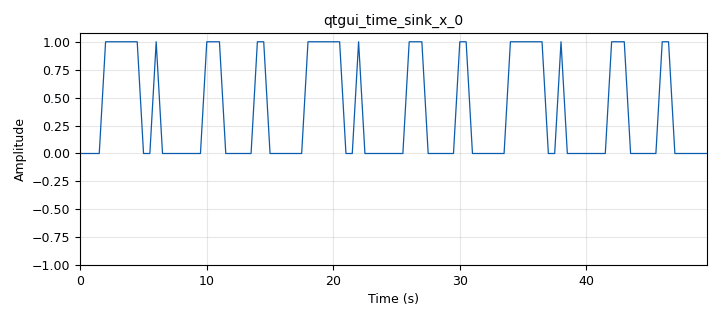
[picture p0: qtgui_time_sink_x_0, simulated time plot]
<?xml version='1.0' encoding='utf-8'?>
<?grc format='1' created='3.7.9'?>
<flow_graph>
<block>
<key>options</key>
<param><key>id</key><value>debug_env</value></param>
<param><key>category</key><value>Custom</value></param>
<param><key>generate_options</key><value>qt_gui</value></param>
</block>
<block>
<key>variable</key>
<param><key>id</key><value>constel_header</value></param>
<param><key>value</key><value>digital.constellation_bpsk()</value></param>
</block>
<block>
<key>variable</key>
<param><key>id</key><value>constel_payload</value></param>
<param><key>value</key><value>digital.constellation_bpsk()</value></param>
</block>
<block>
<key>variable</key>
<param><key>id</key><value>samp_rate</value></param>
<param><key>value</key><value>2</value></param>
</block>
<block>
<key>blocks_char_to_float</key>
<param><key>id</key><value>blocks_char_to_float_0</value></param>
<param><key>scale</key><value>1</value></param>
</block>
<block>
<key>blocks_repack_bits_bb</key>
<param><key>id</key><value>blocks_repack_bits_bb_0</value></param>
<param><key>k</key><value>8</value></param>
<param><key>l</key><value>1</value></param>
<param><key>endianness</key><value>gr.GR_LSB_FIRST</value></param>
</block>
<block>
<key>blocks_throttle</key>
<param><key>id</key><value>blocks_throttle_0</value></param>
<param><key>samples_per_second</key><value>samp_rate</value></param>
<param><key>type</key><value>byte</value></param>
</block>
<block>
<key>blocks_vector_source_x</key>
<param><key>id</key><value>blocks_vector_source_x_0</value></param>
<param><key>type</key><value>byte</value></param>
<param><key>repeat</key><value>True</value></param>
<param><key>vector</key><value>(63, 1,7,3)</value></param>
</block>
<block>
<key>qtgui_time_sink_x</key>
<param><key>id</key><value>qtgui_time_sink_x_0</value></param>
<param><key>ctrlpanel</key><value>True</value></param>
<param><key>color1</key><value>"blue"</value></param>
<param><key>label1</key><value></value></param>
<param><key>size</key><value>100</value></param>
<param><key>srate</key><value>samp_rate</value></param>
<param><key>type</key><value>float</value></param>
</block>
<connection><source_block_id>blocks_char_to_float_0</source_block_id><sink_block_id>qtgui_time_sink_x_0</sink_block_id><source_key>0</source_key><sink_key>0</sink_key></connection>
<connection><source_block_id>blocks_repack_bits_bb_0</source_block_id><sink_block_id>blocks_throttle_0</sink_block_id><source_key>0</source_key><sink_key>0</sink_key></connection>
<connection><source_block_id>blocks_throttle_0</source_block_id><sink_block_id>blocks_char_to_float_0</sink_block_id><source_key>0</source_key><sink_key>0</sink_key></connection>
<connection><source_block_id>blocks_vector_source_x_0</source_block_id><sink_block_id>blocks_repack_bits_bb_0</sink_block_id><source_key>0</source_key><sink_key>0</sink_key></connection>
</flow_graph>
